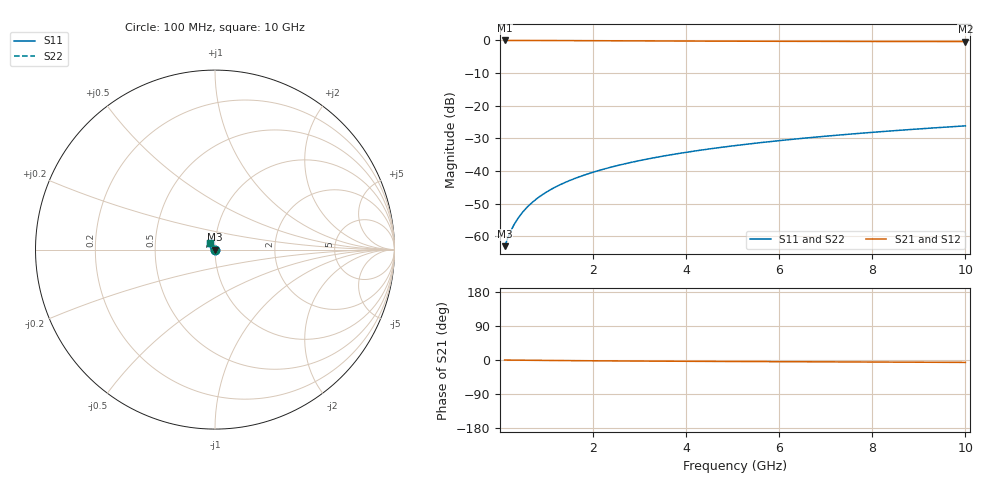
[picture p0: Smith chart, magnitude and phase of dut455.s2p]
! Touchstone file exported from HFSS 2024.1.0
!  File:  C:/UserFiles/LocalFiles/RDL_TSV_Batchsim/temp_TSV1_455_1779696736.aedt
!  Generated:  04:24:12 PM May 25, 2026
!  Design:  TSV1
!  Project:  temp_TSV1_455_1779696736
!  Setup:  Setup1
!  Solution:  Sweep
! Variables:
!  dtsv = 5.34um
!  hbump = 3um
!  htsv = 89.49um
!  lrdl = 252.1521522um
!  p = 40
!  p1 = 59.46um
!  t = 500um
!  trdl = 3um
!  wrdl = 24.89489489um
# GHz S MA R 50.000000
! Terminal data exported
! Port[1] = TSV22_T1
! Port[2] = TSV22_T2
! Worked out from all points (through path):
!   100 points, 100 MHz to 10 GHz, reference 50 ohm
!   highest |S21| = 0.00 dB at 100 MHz (marker M1); lowest = -0.3 dB at 10 GHz (marker M2)
!   lowest |S11| = -63.1 dB at 100 MHz (marker M3), VSWR 1.00, Z = 50.1 - j0.0492 ohm
!   |S11| at or under -10 dB: start of sweep to end of sweep
!   |S22| runs from -63.1 to -26.2 dB; largest |S21 - S12| = 2.1e-15
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0.1  0.000702 -44.5  0.9994 -0.1  0.9994 -0.1  0.000702 -44.5
! Gamma 0 0 0 0
! Port Impedance 50 0 50 0
0.2  0.001067 -66.7  0.9994 -0.2  0.9994 -0.2  0.001067 -66.7
0.3  0.00149 -78.7  0.9992 -0.3  0.9992 -0.3  0.00149 -78.7
0.4  0.001935 -86.7  0.999 -0.5  0.999 -0.5  0.001935 -86.7
0.5  0.002391 -92.8  0.9988 -0.6  0.9988 -0.6  0.002391 -92.8
0.6  0.002854 -97.9  0.9985 -0.7  0.9985 -0.7  0.002854 -97.9
0.7  0.003321 -102.4  0.9982 -0.8  0.9982 -0.8  0.003321 -102.4
0.9  0.004265 -110.2  0.9974 -1.0  0.9974 -1.0  0.004265 -110.2
1  0.00474 -113.7  0.9969 -1.1  0.9969 -1.1  0.00474 -113.7
1.2  0.005694 -120.3  0.9959 -1.3  0.9959 -1.3  0.005694 -120.3
1.5  0.007133 -129.4  0.9943 -1.6  0.9943 -1.6  0.007133 -129.4
1.8  0.008577 -137.7  0.9924 -1.9  0.9924 -1.9  0.008577 -137.7
2.1  0.01003 -145.4  0.9905 -2.1  0.9905 -2.1  0.01003 -145.4
2.5  0.01196 -154.7  0.9878 -2.4  0.9878 -2.4  0.01196 -154.7
2.9  0.0139 -163.2  0.9852 -2.7  0.9852 -2.7  0.0139 -163.2
3.4  0.01634 -172.6  0.982 -3.1  0.982 -3.1  0.01634 -172.6
4.2  0.02025 174.7  0.9776 -3.5  0.9776 -3.5  0.02025 174.7
5.1  0.02466 163.1  0.9735 -4.0  0.9735 -4.0  0.02466 163.1
5.9  0.0286 154.7  0.9705 -4.4  0.9705 -4.4  0.0286 154.7
6.7  0.03255 147.7  0.9681 -4.8  0.9681 -4.8  0.03255 147.7
8.4  0.04101 136.2  0.9642 -5.6  0.9642 -5.6  0.04101 136.2
10  0.04904 128.2  0.9614 -6.3  0.9614 -6.3  0.04904 128.2
